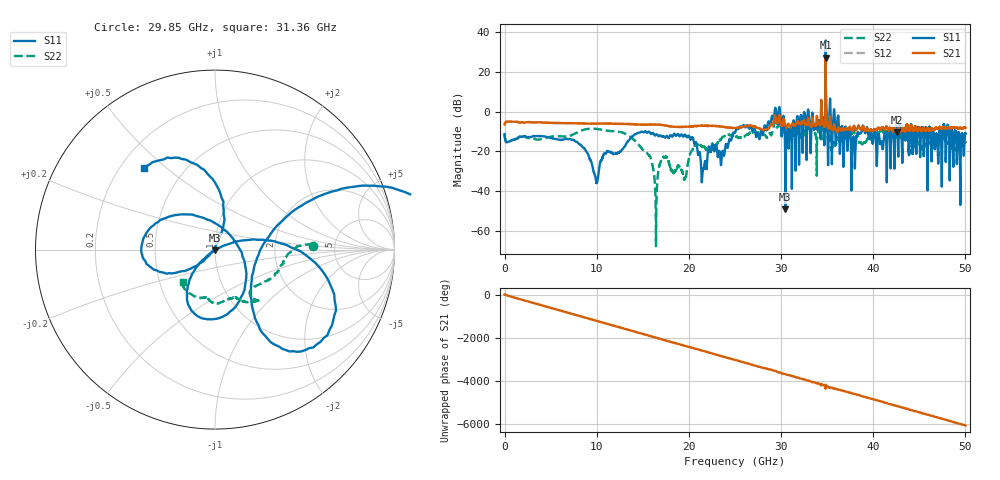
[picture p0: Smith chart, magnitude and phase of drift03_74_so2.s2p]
!Created with skrf (http://scikit-rf.org).
# Hz S RI R 50.0
!freq ReS11 ImS11 ReS21 ImS21 ReS12 ImS12 ReS22 ImS22
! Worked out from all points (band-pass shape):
!   10001 points, 300 kHz to 50 GHz, reference 50 ohm
!   highest |S21| = 27.04 dB at 34.85 GHz (marker M1); lowest = -10.3 dB at 42.55 GHz (marker M2)
!   |S21| within 3 dB of the highest: 34.84358 GHz to 34.84603 GHz (2.456 MHz wide, 0.00705 % of centre)
!   lowest |S11| = -49.0 dB at 30.47 GHz (marker M3), VSWR 1.01, Z = 49.9 - j0.32 ohm
!   |S11| at or under -10 dB: start of sweep to 15.23 GHz; 15.31 GHz to 25.05 GHz (9.739 GHz wide, 48.3 % of centre); 40.22 GHz to 41.61 GHz (1.395 GHz wide, 3.41 % of centre) (the widest 3 of 54)
!   |S22| runs from -67.6 to 18.2 dB; largest |S21 - S12| = 3.1
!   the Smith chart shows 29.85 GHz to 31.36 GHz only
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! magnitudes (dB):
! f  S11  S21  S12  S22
! 300 kHz  -11.4  -6.5  -6.4  -11.3
! 8.335 GHz  -17.1  -6.0  -6.0  -9.6
! 9.955 GHz  -35.5  -6.1  -6.1  -8.7
! 10.91 GHz  -21.0  -6.0  -6.1  -9.4
! 13.82 GHz  -12.6  -6.3  -6.3  -13.3
! 16.67 GHz  -12.3  -6.5  -6.5  -30.1
! 17.34 GHz  -12.8  -6.9  -6.9  -22.9
! 19.55 GHz  -11.6  -7.6  -7.6  -33.6
! 20.22 GHz  -13.9  -7.5  -7.5  -20.4
! 21.55 GHz  -28.7  -7.2  -7.2  -17.7
! 25 GHz  -10.6  -8.3  -8.2  -12.5
! 27.5 GHz  -11.0  -8.3  -8.4  -10.7
! 29.6 GHz  -5.5  -5.7  -5.9  -7.8
! 30.47 GHz  -49.0  -7.2  -7.2  -9.0
! 33.34 GHz  -3.8  -6.8  -6.7  -9.3
! 34.85 GHz  35.7  27.0  26.9  18.2
! 35.62 GHz  -7.1  -9.3  -9.1  -16.0
! 37.83 GHz  -12.9  -8.2  -8.2  -9.6
! 39.07 GHz  -10.2  -9.4  -9.4  -15.4
! 41.67 GHz  -9.2  -9.4  -9.4  -11.6
! 42.55 GHz  -8.1  -10.3  -10.4  -13.4
! 50 GHz  -10.8  -8.2  -8.3  -15.5
